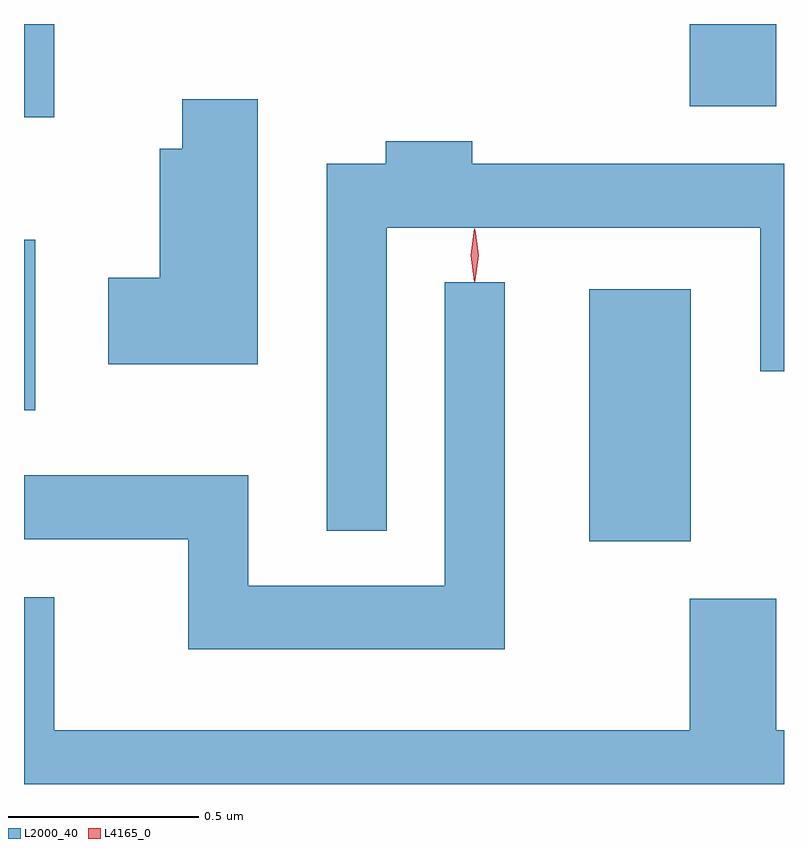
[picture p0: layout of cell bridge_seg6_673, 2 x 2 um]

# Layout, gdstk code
import gdstk
lib = gdstk.Library(unit=1e-6, precision=1e-09)
def R(c, l, rs):  # rectangles x0, y0, x1, y1
    for r in rs: c.add(gdstk.rectangle(r[:2], r[2:], *l))
def P(c, l, *ps):  # polygons
    for p in ps: c.add(gdstk.Polygon(p, *l))
L2000_40 = (2000, 40)
L4165_0 = (4165, 0)

bridge_seg6_673 = lib.new_cell('bridge_seg6_673')
R(bridge_seg6_673, L2000_40, [(310.346,1639.601,310.614,1640.264), (308.859,1639.946,308.889,1640.394), (308.859,1640.716,308.939,1640.962), (310.611,1640.746,310.839,1640.962)])
P(bridge_seg6_673, L2000_40, [(309.474,1640.764),(309.276,1640.764),(309.276,1640.634),(309.216,1640.634),(309.216,1640.294),(309.081,1640.294),(309.081,1640.066),(309.474,1640.066)],
  [(309.814,1640.426),(310.796,1640.426),(310.796,1640.048),(310.859,1640.048),(310.859,1640.594),(310.039,1640.594),(310.039,1640.654),(309.811,1640.654),(309.811,1640.594),(309.656,1640.594),(309.656,1639.628),(309.814,1639.628)],
  [(310.124,1640.283),(309.966,1640.283),(309.966,1639.484),(309.449,1639.484),(309.449,1639.774),(308.859,1639.774),(308.859,1639.606),(309.291,1639.606),(309.291,1639.316),(310.124,1639.316)],
  [(310.859,1639.104),(310.839,1639.104),(310.839,1639.449),(310.611,1639.449),(310.611,1639.104),(308.939,1639.104),(308.939,1639.454),(308.859,1639.454),(308.859,1638.962),(310.859,1638.962)])
P(bridge_seg6_673, L4165_0, [(310.044,1640.284),(310.044,1640.284),(310.034,1640.353),(310.044,1640.423),(310.044,1640.423),(310.045,1640.423),(310.054,1640.353),(310.045,1640.284)],
  [(310.046,1640.287),(310.045,1640.288),(310.036,1640.354),(310.045,1640.42),(310.046,1640.421),(310.046,1640.42),(310.056,1640.354),(310.046,1640.288)])

lib.write_gds('bridge_seg6_673.gds')
